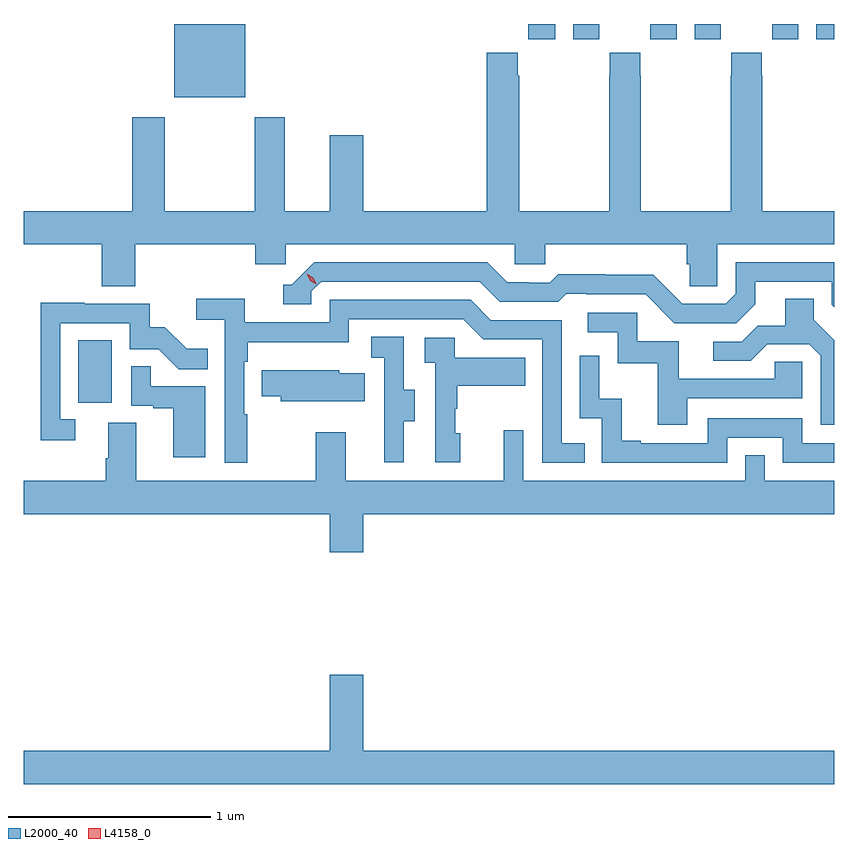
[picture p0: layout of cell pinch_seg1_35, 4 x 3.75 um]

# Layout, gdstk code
import gdstk
lib = gdstk.Library(unit=1e-6, precision=1e-09)
def R(c, l, rs):  # rectangles x0, y0, x1, y1
    for r in rs: c.add(gdstk.rectangle(r[:2], r[2:], *l))
def P(c, l, *ps):  # polygons
    for p in ps: c.add(gdstk.Polygon(p, *l))
L2000_40 = (2000, 40)
L4158_0 = (4158, 0)

pinch_seg1_35 = lib.new_cell('pinch_seg1_35')
R(pinch_seg1_35, L2000_40, [(1122.806,566.934,1122.97,567.241), (1123.28,568.442,1123.63,568.803), (1125.026,568.728,1125.16,568.803), (1125.248,568.728,1125.378,568.803), (1125.63,568.728,1125.76,568.803), (1125.848,568.728,1125.978,568.803), (1126.23,568.728,1126.36,568.803), (1126.448,568.728,1126.537,568.803)])
P(pinch_seg1_35, L2000_40, [(1123.088,567.716),(1123.679,567.716),(1123.679,567.618),(1123.83,567.618),(1123.83,567.716),(1124.961,567.716),(1124.961,567.618),(1125.111,567.618),(1125.111,567.716),(1125.809,567.716),(1125.809,567.618),(1125.823,567.618),(1125.823,567.508),(1125.96,567.508),(1125.96,567.716),(1126.537,567.716),(1126.537,567.88),(1126.182,567.88),(1126.182,568.547),(1126.179,568.547),(1126.179,568.66),(1126.029,568.66),(1126.029,568.547),(1126.027,568.547),(1126.027,567.88),(1125.582,567.88),(1125.582,568.547),(1125.579,568.547),(1125.579,568.66),(1125.429,568.66),(1125.429,568.547),(1125.427,568.547),(1125.427,567.88),(1124.982,567.88),(1124.982,568.547),(1124.975,568.547),(1124.975,568.66),(1124.822,568.66),(1124.822,567.88),(1124.212,567.88),(1124.212,568.255),(1124.048,568.255),(1124.048,567.88),(1123.825,567.88),(1123.825,568.342),(1123.678,568.342),(1123.678,567.88),(1123.233,567.88),(1123.233,568.342),(1123.073,568.342),(1123.073,567.88),(1122.537,567.88),(1122.537,567.716),(1122.923,567.716),(1122.923,567.508),(1123.088,567.508)],
  [(1126.147,567.421),(1126.147,567.531),(1126.524,567.531),(1126.524,567.417),(1126.537,567.404),(1126.537,567.627),(1126.05,567.627),(1126.05,567.471),(1126.002,567.423),(1125.786,567.423),(1125.644,567.565),(1125.408,567.565),(1125.408,567.568),(1125.175,567.568),(1125.133,567.525),(1125.03,567.525),(1125.03,567.528),(1124.923,567.528),(1124.824,567.627),(1123.971,567.627),(1123.86,567.516),(1123.817,567.516),(1123.817,567.42),(1123.956,567.42),(1123.956,567.483),(1124.004,567.531),(1124.787,567.531),(1124.886,567.432),(1125.175,567.432),(1125.214,567.471),(1125.313,567.471),(1125.313,567.468),(1125.606,567.468),(1125.747,567.327),(1126.053,567.327)],
  [(1123.639,566.876),(1123.626,566.876),(1123.626,567.137),(1123.643,567.137),(1123.643,567.233),(1124.142,567.233),(1124.142,567.345),(1124.706,567.345),(1124.805,567.246),(1125.096,567.246),(1125.096,566.637),(1125.305,566.637),(1125.305,566.733),(1125.192,566.733),(1125.192,567.342),(1124.842,567.342),(1124.743,567.441),(1124.046,567.441),(1124.046,567.33),(1123.628,567.33),(1123.628,567.446),(1123.389,567.446),(1123.389,567.344),(1123.53,567.344),(1123.53,566.637),(1123.639,566.637)],
  [(1126.537,567.242),(1126.435,567.344),(1126.435,567.446),(1126.295,567.446),(1126.295,567.314),(1126.16,567.314),(1126.08,567.234),(1125.939,567.234),(1125.939,567.141),(1126.126,567.141),(1126.207,567.222),(1126.413,567.222),(1126.47,567.165),(1126.47,566.826),(1126.537,566.826)],
  [(1122.79,566.853),(1122.717,566.853),(1122.717,567.327),(1123.059,567.327),(1123.059,567.198),(1123.203,567.198),(1123.301,567.1),(1123.445,567.1),(1123.445,567.199),(1123.341,567.199),(1123.234,567.306),(1123.158,567.306),(1123.158,567.423),(1122.839,567.423),(1122.839,567.428),(1122.621,567.428),(1122.621,566.748),(1122.79,566.748)],
  [(1125.811,566.955),(1126.38,566.955),(1126.38,567.135),(1126.243,567.135),(1126.243,567.051),(1125.769,567.051),(1125.769,567.237),(1125.564,567.237),(1125.564,567.378),(1125.321,567.378),(1125.321,567.282),(1125.468,567.282),(1125.468,567.129),(1125.667,567.129),(1125.667,566.826),(1125.811,566.826)],
  [(1124.413,566.842),(1124.467,566.842),(1124.467,566.997),(1124.412,566.997),(1124.412,567.26),(1124.253,567.26),(1124.253,567.157),(1124.316,567.157),(1124.316,566.853),(1124.315,566.853),(1124.315,566.64),(1124.413,566.64)],
  [(1124.692,566.784),(1124.667,566.784),(1124.667,566.903),(1124.677,566.903),(1124.677,567.017),(1125.011,567.017),(1125.011,567.157),(1124.664,567.157),(1124.664,567.255),(1124.517,567.255),(1124.517,567.131),(1124.568,567.131),(1124.568,566.64),(1124.692,566.64)],
  [(1126.008,566.76),(1126.284,566.76),(1126.284,566.637),(1126.537,566.637),(1126.537,566.733),(1126.38,566.733),(1126.38,566.856),(1125.912,566.856),(1125.912,566.733),(1125.583,566.733),(1125.583,566.746),(1125.488,566.746),(1125.488,566.954),(1125.378,566.954),(1125.378,567.166),(1125.282,567.166),(1125.282,566.856),(1125.39,566.856),(1125.39,566.637),(1126.008,566.637)],
  [(1123.432,567.015),(1123.163,567.015),(1123.163,567.113),(1123.068,567.113),(1123.068,566.919),(1123.175,566.919),(1123.175,566.907),(1123.274,566.907),(1123.274,566.664),(1123.432,566.664)],
  [(1124.219,567.079),(1124.094,567.079),(1124.094,567.094),(1123.822,567.094),(1123.822,567.093),(1123.711,567.093),(1123.711,566.965),(1123.805,566.965),(1123.805,566.942),(1124.219,566.942)],
  [(1124.212,566.384),(1126.537,566.384),(1126.537,566.548),(1126.194,566.548),(1126.194,566.675),(1126.098,566.675),(1126.098,566.548),(1125.003,566.548),(1125.003,566.797),(1124.906,566.797),(1124.906,566.548),(1124.125,566.548),(1124.125,566.788),(1123.978,566.788),(1123.978,566.548),(1123.093,566.548),(1123.093,566.834),(1122.953,566.834),(1122.953,566.66),(1122.941,566.66),(1122.941,566.548),(1122.537,566.548),(1122.537,566.384),(1124.048,566.384),(1124.048,566.196),(1124.212,566.196)],
  [(1126.537,565.216),(1124.212,565.216),(1124.212,565.591),(1124.048,565.591),(1124.048,565.216),(1122.537,565.216),(1122.537,565.052),(1126.537,565.052)])
P(pinch_seg1_35, L4158_0, [(1123.98,567.518),(1123.95,567.537),(1123.934,567.57),(1123.934,567.57),(1123.934,567.57),(1123.965,567.55),(1123.981,567.518),(1123.981,567.518)])

lib.write_gds('pinch_seg1_35.gds')
